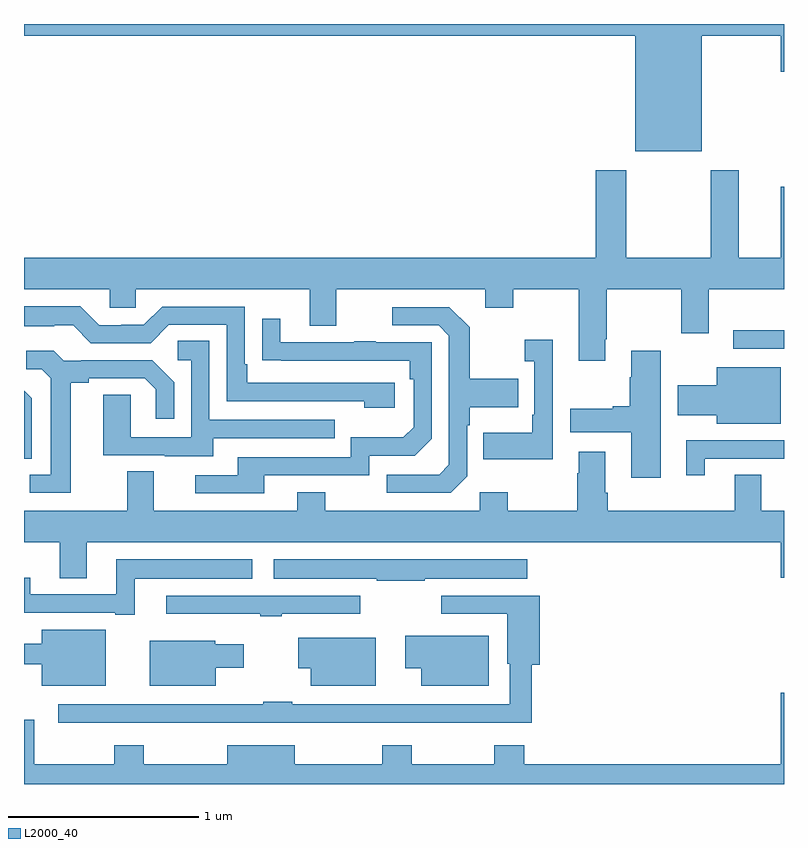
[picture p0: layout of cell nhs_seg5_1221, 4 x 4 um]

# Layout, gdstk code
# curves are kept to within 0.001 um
import gdstk
lib = gdstk.Library(unit=1e-6, precision=1e-09)
def R(c, l, rs):  # rectangles x0, y0, x1, y1
    for r in rs: c.add(gdstk.rectangle(r[:2], r[2:], *l))
def P(c, l, *ps):  # polygons
    for p in ps: c.add(gdstk.Polygon(p, *l))
L2000_40 = (2000, 40)

nhs_seg5_1221 = lib.new_cell('nhs_seg5_1221')
R(nhs_seg5_1221, L2000_40, [(188.733,879.09,189,879.186)])
P(nhs_seg5_1221, L2000_40, [(188.566,880.736),(188.984,880.736),(188.984,880.548),(189,880.548),(189,880.799),(185,880.799),(185,880.736),(188.216,880.736),(188.216,880.13),(188.566,880.13)],
  [(188.059,879.139),(188.067,879.139),(188.067,879.404),(188.458,879.404),(188.458,879.171),(188.605,879.171),(188.605,879.404),(189,879.404),(189,879.943),(188.984,879.943),(188.984,879.568),(188.761,879.568),(188.761,880.03),(188.614,880.03),(188.614,879.568),(188.169,879.568),(188.169,880.03),(188.009,880.03),(188.009,879.568),(185,879.568),(185,879.404),(185.451,879.404),(185.451,879.306),(185.589,879.306),(185.589,879.404),(186.503,879.404),(186.503,879.21),(186.643,879.21),(186.643,879.404),(187.427,879.404),(187.427,879.305),(187.575,879.305),(187.575,879.404),(187.919,879.404),(187.919,879.027),(188.059,879.027)],
  [(186.952,878.91),(186.175,878.91),(186.175,879.007),(186.162,879.007),(186.162,879.312),(185.727,879.312),(185.631,879.216),(185.513,879.216),(185.513,879.213),(185.397,879.213),(185.297,879.313),(185,879.313),(185,879.209),(185.159,879.209),(185.159,879.213),(185.259,879.213),(185.352,879.12),(185.667,879.12),(185.763,879.216),(186.066,879.216),(186.066,878.814),(186.791,878.814),(186.791,878.78),(186.952,878.78)],
  [(187.332,878.418),(187.332,878.687),(187.345,878.687),(187.345,878.783),(187.601,878.783),(187.601,878.931),(187.345,878.931),(187.345,879.203),(187.239,879.309),(186.939,879.309),(186.939,879.213),(187.182,879.213),(187.236,879.159),(187.236,878.478),(187.185,878.427),(186.909,878.427),(186.909,878.331),(187.245,878.331)],
  [(186.265,878.424),(186.816,878.424),(186.816,878.526),(187.056,878.526),(187.146,878.616),(187.146,879.123),(186.851,879.123),(186.851,879.128),(186.739,879.128),(186.739,879.123),(186.349,879.123),(186.349,879.247),(186.253,879.247),(186.253,879.028),(187.03,879.027),(187.03,878.93),(187.05,878.93),(187.05,878.676),(186.997,878.623),(186.72,878.623),(186.72,878.52),(186.125,878.52),(186.125,878.424),(185.901,878.424),(185.901,878.328),(186.265,878.328)],
  [(187.782,878.869),(187.783,878.869),(187.783,879.136),(187.635,879.136),(187.635,879.023),(187.686,879.023),(187.686,878.743),(187.674,878.743),(187.674,878.647),(187.417,878.647),(187.417,878.507),(187.782,878.507)],
  [(185.995,878.619),(186.635,878.619),(186.635,878.715),(185.976,878.715),(185.976,879.131),(185.808,879.131),(185.808,879.03),(185.88,879.03),(185.88,878.625),(185.562,878.625),(185.562,878.849),(185.417,878.849),(185.417,878.529),(185.741,878.529),(185.741,878.525),(185.995,878.525)],
  [(188.35,879.079),(188.195,879.079),(188.195,878.939),(188.188,878.939),(188.188,878.786),(188.099,878.786),(188.099,878.773),(187.875,878.773),(187.875,878.651),(188.195,878.651),(188.195,878.412),(188.35,878.412)],
  [(185.245,878.912),(185.341,878.912),(185.341,878.934),(185.636,878.934),(185.693,878.877),(185.693,878.721),(185.79,878.721),(185.79,878.914),(185.674,879.03),(185.302,879.03),(185.302,879.027),(185.208,879.027),(185.156,879.079),(185.013,879.079),(185.013,878.982),(185.094,878.982),(185.141,878.935),(185.141,878.427),(185.031,878.427),(185.031,878.331),(185.245,878.331)],
  [(188.983,878.992),(188.645,878.992),(188.645,878.899),(188.442,878.899),(188.442,878.741),(188.645,878.741),(188.645,878.696),(188.983,878.696)],
  [(185.04,878.83),(185,878.87),(185,878.512),(185.04,878.512)],
  [(188.584,878.511),(189,878.511),(189,878.607),(188.486,878.607),(188.486,878.424),(188.584,878.424)],
  [(185.329,878.072),(188.984,878.072),(188.984,877.884),(189,877.884),(189,878.236),(188.881,878.236),(188.881,878.426),(188.741,878.426),(188.741,878.236),(188.072,878.236),(188.072,878.332),(188.059,878.332),(188.059,878.548),(187.919,878.548),(187.919,878.435),(187.912,878.435),(187.912,878.236),(187.545,878.236),(187.545,878.335),(187.398,878.335),(187.398,878.236),(186.585,878.236),(186.585,878.335),(186.437,878.335),(186.437,878.236),(185.683,878.236),(185.683,878.444),(185.543,878.444),(185.543,878.236),(185,878.236),(185,878.072),(185.189,878.072),(185.189,877.882),(185.329,877.882)],
  [(185.584,877.88),(186.202,877.88),(186.202,877.981),(185.486,877.981),(185.486,877.797),(185.032,877.797),(185.032,877.885),(185,877.885),(185,877.701),(185.48,877.701),(185.48,877.689),(185.584,877.689)],
  [(187.109,877.88),(187.648,877.88),(187.648,877.981),(186.315,877.981),(186.315,877.88),(186.856,877.88),(186.856,877.87),(187.109,877.87)],
  [(186.356,877.695),(186.769,877.695),(186.769,877.791),(185.748,877.791),(185.748,877.694),(186.244,877.694),(186.244,877.683),(186.356,877.683)],
  [(185.975,877.122),(186.52,877.122),(186.52,877.121),(186.797,877.121),(186.797,877.122),(187.129,877.122),(187.129,877.121),(187.385,877.121),(187.385,877.122),(187.673,877.122),(187.673,877.427),(187.715,877.427),(187.715,877.791),(187.197,877.791),(187.197,877.695),(187.544,877.695),(187.544,877.431),(187.557,877.431),(187.557,877.218),(186.413,877.218),(186.413,877.231),(186.26,877.231),(186.26,877.22),(186.106,877.22),(186.106,877.218),(185.181,877.218),(185.181,877.122),(185.719,877.122),(185.719,877.121),(185.975,877.121)],
  [(185.431,877.612),(185.093,877.612),(185.093,877.537),(185,877.537),(185,877.428),(185.093,877.428),(185.093,877.316),(185.431,877.316)],
  [(187.447,877.579),(187.007,877.579),(187.007,877.409),(187.091,877.409),(187.091,877.316),(187.447,877.316)],
  [(186.85,877.57),(186.444,877.57),(186.444,877.409),(186.509,877.409),(186.509,877.316),(186.85,877.316)],
  [(186.01,877.412),(186.157,877.412),(186.157,877.534),(186.006,877.534),(186.006,877.552),(185.663,877.552),(185.663,877.316),(186.01,877.316)],
  [(189,877.279),(188.984,877.279),(188.984,876.904),(187.634,876.904),(187.634,877.003),(187.474,877.003),(187.474,876.904),(187.041,876.904),(187.041,877.003),(186.886,877.003),(186.886,876.904),(186.424,876.904),(186.424,877.003),(186.071,877.003),(186.071,876.904),(185.631,876.904),(185.631,877.003),(185.476,877.003),(185.476,876.904),(185.053,876.904),(185.053,877.138),(185,877.138),(185,876.799),(189,876.799)])

lib.write_gds('nhs_seg5_1221.gds')
